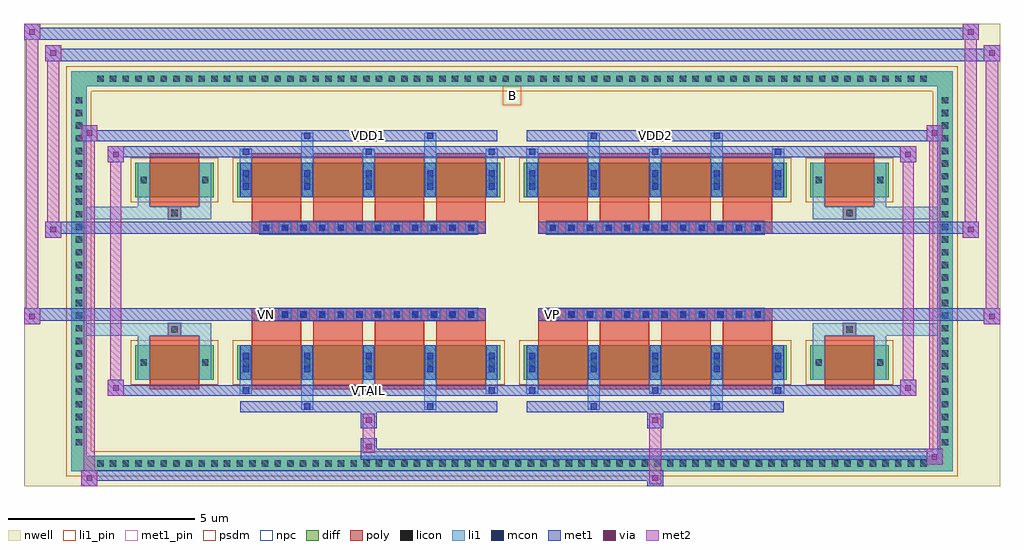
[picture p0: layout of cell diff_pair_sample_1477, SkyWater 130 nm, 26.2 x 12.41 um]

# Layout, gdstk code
import gdstk
lib = gdstk.Library(unit=1e-6, precision=5e-09)
def R(c, l, rs):  # rectangles x0, y0, x1, y1
    for r in rs: c.add(gdstk.rectangle(r[:2], r[2:], *l))
def A(c, l, x, y, w, h, nx, ny, dx, dy):  # array of equal rectangles
    R(c, l, [(x+i*dx, y+j*dy, x+i*dx+w, y+j*dy+h) for i in range(nx) for j in range(ny)])
def P(c, l, *ps):  # polygons
    for p in ps: c.add(gdstk.Polygon(p, *l))
nwell = (64, 20)
diff = (65, 20)
poly = (66, 20)
licon = (66, 44)
li1_pin = (67, 16)
li1 = (67, 20)
mcon = (67, 44)
met1_pin = (68, 16)
met1 = (68, 20)
via = (68, 44)
met2 = (69, 20)
psdm = (94, 20)
npc = (95, 20)

diff_pair_sample_1477 = lib.new_cell('diff_pair_sample_1477')
R(diff_pair_sample_1477, nwell, [(-13.1,-5.77,13.1,6.64), (-10.42,-3.96,-0.01,-0.8), (0.01,-3.96,10.42,-0.8), (-10.42,0.8,-0.01,3.96), (0.01,0.8,10.42,3.96)])
A(diff_pair_sample_1477, diff, -11.255, -5.37, 0.41, 0.41, 66, 2, 0.34, 10.33)
A(diff_pair_sample_1477, diff, -11.83, -4.795, 0.41, 0.41, 1, 28, 0, 0.34)
A(diff_pair_sample_1477, diff, 11.42, -4.795, 0.41, 0.41, 1, 28, 0, 0.34)
R(diff_pair_sample_1477, diff, [(-11.255,-5.37,11.255,-4.96), (-11.83,-4.795,-11.42,4.795), (11.42,-4.795,11.83,4.795), (-10.11,-2.915,-8.01,-1.985), (-7.37,-2.915,-0.32,-1.985), (0.32,-2.915,7.37,-1.985), (8.01,-2.915,10.11,-1.985), (-10.11,1.985,-8.01,2.915), (-7.37,1.985,-0.32,2.915), (0.32,1.985,7.37,2.915), (8.01,1.985,10.11,2.915), (-11.255,4.96,11.255,5.37)])
P(diff_pair_sample_1477, diff, [(11.83,5.37),(-11.83,5.37),(-11.83,-4.96),(-11.42,-4.96),(-11.42,4.96),(11.42,4.96),(11.42,-4.96),(-11.42,-4.96),(-11.83,-4.96),(-11.83,-5.37),(11.83,-5.37)])
A(diff_pair_sample_1477, poly, -6.98, -3.17, 1.32, 1.44, 4, 2, 1.65, 4.9)
A(diff_pair_sample_1477, poly, 0.71, -3.17, 1.32, 1.44, 4, 2, 1.65, 4.9)
A(diff_pair_sample_1477, poly, -6.98, -1.73, 1.32, 0.4, 4, 2, 1.65, 3.06)
A(diff_pair_sample_1477, poly, 0.71, -1.73, 1.32, 0.4, 4, 2, 1.65, 3.06)
A(diff_pair_sample_1477, poly, -6.76, -1.33, 0.33, 0.33, 12, 2, 0.5, 2.33)
A(diff_pair_sample_1477, poly, 0.93, -1.33, 0.33, 0.33, 12, 2, 0.5, 2.33)
R(diff_pair_sample_1477, poly, [(-9.72,-3.17,-8.4,-1.73), (8.4,-3.17,9.72,-1.73), (-9.225,-1.73,-8.895,-1.4), (-9.225,-1.73,-8.895,-1.4), (8.895,-1.73,9.225,-1.4), (8.895,-1.73,9.225,-1.4), (-6.98,-1.33,-0.71,-1), (0.71,-1.33,6.98,-1), (-6.98,1,-0.71,1.33), (0.71,1,6.98,1.33), (-9.225,1.4,-8.895,1.73), (-9.225,1.4,-8.895,1.73), (8.895,1.4,9.225,1.73), (8.895,1.4,9.225,1.73), (-9.72,1.73,-8.4,3.17), (8.4,1.73,9.72,3.17)])
A(diff_pair_sample_1477, licon, -11.135, -5.25, 0.17, 0.17, 66, 2, 0.34, 10.33)
A(diff_pair_sample_1477, licon, -11.71, -4.675, 0.17, 0.17, 1, 28, 0, 0.34)
A(diff_pair_sample_1477, licon, 11.54, -4.675, 0.17, 0.17, 1, 28, 0, 0.34)
A(diff_pair_sample_1477, licon, -7.23, -2.535, 0.17, 0.17, 5, 2, 1.65, 4.9)
A(diff_pair_sample_1477, licon, 0.46, -2.535, 0.17, 0.17, 5, 2, 1.65, 4.9)
A(diff_pair_sample_1477, licon, -6.68, -1.25, 0.17, 0.17, 12, 2, 0.5, 2.33)
A(diff_pair_sample_1477, licon, 1.01, -1.25, 0.17, 0.17, 12, 2, 0.5, 2.33)
R(diff_pair_sample_1477, licon, [(-9.97,-2.535,-9.8,-2.365), (-8.32,-2.535,-8.15,-2.365), (8.15,-2.535,8.32,-2.365), (9.8,-2.535,9.97,-2.365), (-9.145,-1.65,-8.975,-1.48), (8.975,-1.65,9.145,-1.48), (-9.145,1.48,-8.975,1.65), (8.975,1.48,9.145,1.65), (-9.97,2.365,-9.8,2.535), (-8.32,2.365,-8.15,2.535), (8.15,2.365,8.32,2.535), (9.8,2.365,9.97,2.535)])
R(diff_pair_sample_1477, li1_pin, [(-0.25,4.46,0.25,4.96)])
A(diff_pair_sample_1477, li1, -11.215, -5.33, 0.33, 0.33, 66, 2, 0.34, 10.33)
A(diff_pair_sample_1477, li1, -11.79, -4.755, 0.33, 0.33, 1, 28, 0, 0.34)
A(diff_pair_sample_1477, li1, 11.46, -4.755, 0.33, 0.33, 1, 28, 0, 0.34)
A(diff_pair_sample_1477, li1, -7.31, -3.29, 0.33, 0.375, 3, 2, 3.3, 6.205)
A(diff_pair_sample_1477, li1, -7.23, -3.29, 0.17, 0.17, 3, 2, 3.3, 6.41)
A(diff_pair_sample_1477, li1, 0.38, -3.29, 0.33, 0.375, 3, 2, 3.3, 6.205)
A(diff_pair_sample_1477, li1, 0.46, -3.29, 0.17, 0.17, 3, 2, 3.3, 6.41)
A(diff_pair_sample_1477, li1, -7.31, -2.915, 0.33, 0.93, 5, 2, 1.65, 4.9)
A(diff_pair_sample_1477, li1, 0.38, -2.915, 0.33, 0.93, 5, 2, 1.65, 4.9)
A(diff_pair_sample_1477, li1, -7.23, -2.715, 0.17, 0.17, 5, 2, 1.65, 0.36)
A(diff_pair_sample_1477, li1, -7.23, -2.715, 0.17, 0.53, 5, 2, 1.65, 4.9)
A(diff_pair_sample_1477, li1, 0.46, -2.715, 0.17, 0.17, 5, 2, 1.65, 0.36)
A(diff_pair_sample_1477, li1, 0.46, -2.715, 0.17, 0.53, 5, 2, 1.65, 4.9)
A(diff_pair_sample_1477, li1, -7.31, -2.615, 0.33, 0.33, 5, 2, 1.65, 4.9)
A(diff_pair_sample_1477, li1, 0.38, -2.615, 0.33, 0.33, 5, 2, 1.65, 4.9)
A(diff_pair_sample_1477, li1, -6.76, -1.33, 0.33, 0.33, 12, 2, 0.5, 2.33)
A(diff_pair_sample_1477, li1, 0.93, -1.33, 0.33, 0.33, 12, 2, 0.5, 2.33)
A(diff_pair_sample_1477, li1, -7.23, 2.185, 0.17, 0.17, 5, 2, 1.65, 0.36)
A(diff_pair_sample_1477, li1, 0.46, 2.185, 0.17, 0.17, 5, 2, 1.65, 0.36)
R(diff_pair_sample_1477, li1, [(-11.83,-5.37,-11.42,-4.96), (-11.83,-5.37,-11.42,-4.96), (-11.42,-5.37,11.42,-4.96), (11.42,-5.37,11.83,-4.96), (11.42,-5.37,11.83,-4.96), (-11.83,-4.96,-11.42,4.96), (11.42,-4.96,11.83,4.96), (-5.66,-3.72,-5.33,-2.915), (-5.58,-3.72,-5.41,-3.55), (-2.36,-3.72,-2.03,-2.915), (-2.28,-3.72,-2.11,-3.55), (2.03,-3.72,2.36,-2.915), (2.11,-3.72,2.28,-3.55), (5.33,-3.72,5.66,-2.915), (5.41,-3.72,5.58,-3.55), (-10.05,-2.915,-9.72,-1.985), (-8.4,-2.915,-8.07,-1.985), (8.07,-2.915,8.4,-1.985), (9.72,-2.915,10.05,-1.985), (-10.05,-2.615,-9.72,-2.285), (-8.4,-2.615,-8.07,-2.285), (8.07,-2.615,8.4,-2.285), (9.72,-2.615,10.05,-2.285), (-10.05,-1.985,-9.72,-1.4), (-8.4,-1.985,-8.07,-1.4), (8.07,-1.985,8.4,-1.4), (9.72,-1.985,10.05,-1.4), (-11.83,-1.73,-9.225,-1.4), (-10.05,-1.73,-9.225,-1.4), (-9.225,-1.73,-8.895,-1.4), (-8.895,-1.73,-8.07,-1.4), (8.07,-1.73,8.895,-1.4), (8.895,-1.73,9.225,-1.4), (8.895,-1.73,11.83,-1.4), (9.225,-1.73,10.05,-1.4), (-11.83,1.4,-9.225,1.73), (-10.05,1.4,-9.225,1.73), (-10.05,1.4,-9.72,1.985), (-9.225,1.4,-8.895,1.73), (-8.895,1.4,-8.07,1.73), (-8.4,1.4,-8.07,1.985), (8.07,1.4,8.895,1.73), (8.07,1.4,8.4,1.985), (8.895,1.4,9.225,1.73), (8.895,1.4,11.83,1.73), (9.225,1.4,10.05,1.73), (9.72,1.4,10.05,1.985), (-10.05,1.985,-9.72,2.915), (-8.4,1.985,-8.07,2.915), (8.07,1.985,8.4,2.915), (9.72,1.985,10.05,2.915), (-10.05,2.285,-9.72,2.615), (-8.4,2.285,-8.07,2.615), (8.07,2.285,8.4,2.615), (9.72,2.285,10.05,2.615), (-5.66,2.915,-5.33,3.72), (-2.36,2.915,-2.03,3.72), (2.03,2.915,2.36,3.72), (5.33,2.915,5.66,3.72), (-5.58,3.55,-5.41,3.72), (-2.28,3.55,-2.11,3.72), (2.11,3.55,2.28,3.72), (5.41,3.55,5.58,3.72), (-11.83,4.96,-11.42,5.37), (-11.83,4.96,-11.42,5.37), (-11.42,4.96,11.42,5.37), (11.42,4.96,11.83,5.37), (11.42,4.96,11.83,5.37)])
A(diff_pair_sample_1477, mcon, -7.23, -3.29, 0.17, 0.17, 3, 2, 3.3, 6.41)
A(diff_pair_sample_1477, mcon, 0.46, -3.29, 0.17, 0.17, 3, 2, 3.3, 6.41)
A(diff_pair_sample_1477, mcon, -7.23, -2.715, 0.17, 0.17, 5, 2, 1.65, 0.36)
A(diff_pair_sample_1477, mcon, 0.46, -2.715, 0.17, 0.17, 5, 2, 1.65, 0.36)
A(diff_pair_sample_1477, mcon, -6.68, -1.25, 0.17, 0.17, 12, 2, 0.5, 2.33)
A(diff_pair_sample_1477, mcon, 1.01, -1.25, 0.17, 0.17, 12, 2, 0.5, 2.33)
A(diff_pair_sample_1477, mcon, -7.23, 2.185, 0.17, 0.17, 5, 2, 1.65, 0.36)
A(diff_pair_sample_1477, mcon, 0.46, 2.185, 0.17, 0.17, 5, 2, 1.65, 0.36)
R(diff_pair_sample_1477, mcon, [(-5.58,-3.72,-5.41,-3.55), (-2.28,-3.72,-2.11,-3.55), (2.11,-3.72,2.28,-3.55), (5.41,-3.72,5.58,-3.55), (-5.58,3.55,-5.41,3.72), (-2.28,3.55,-2.11,3.72), (2.11,3.55,2.28,3.72), (5.41,3.55,5.58,3.72)])
R(diff_pair_sample_1477, met1_pin, [(-3.98,-3.33,-3.71,-3.06), (-6.73,-1.29,-6.46,-1.02), (0.96,-1.29,1.23,-1.02), (-3.98,3.51,-3.71,3.78), (3.71,3.51,3.98,3.78)])
A(diff_pair_sample_1477, met1, -7.29, -3.35, 0.29, 0.29, 3, 2, 3.3, 6.41)
A(diff_pair_sample_1477, met1, 0.4, -3.35, 0.29, 0.29, 3, 2, 3.3, 6.41)
A(diff_pair_sample_1477, met1, -7.29, -2.915, 0.29, 0.93, 5, 2, 1.65, 4.9)
A(diff_pair_sample_1477, met1, 0.4, -2.915, 0.29, 0.93, 5, 2, 1.65, 4.9)
A(diff_pair_sample_1477, met1, -7.29, -2.775, 0.29, 0.29, 5, 2, 1.65, 0.36)
A(diff_pair_sample_1477, met1, 0.4, -2.775, 0.29, 0.29, 5, 2, 1.65, 0.36)
A(diff_pair_sample_1477, met1, -6.74, -1.31, 0.29, 0.29, 12, 2, 0.5, 2.33)
A(diff_pair_sample_1477, met1, 0.95, -1.31, 0.29, 0.29, 12, 2, 0.5, 2.33)
A(diff_pair_sample_1477, met1, -7.29, 2.125, 0.29, 0.29, 5, 2, 1.65, 0.36)
A(diff_pair_sample_1477, met1, 0.4, 2.125, 0.29, 0.29, 5, 2, 1.65, 0.36)
R(diff_pair_sample_1477, met1, [(-11.56,-5.77,-11.13,-5.34), (3.63,-5.77,4.06,-5.34), (-11.56,-5.63,4.06,-5.34), (11.13,-5.2,11.56,-4.77), (-4.06,-5.06,11.56,-4.77), (-4.06,-4.92,-3.63,-4.49), (-4.06,-4.21,-3.63,-3.78), (3.63,-4.21,4.06,-3.78), (-7.29,-3.78,-0.4,-3.49), (-5.64,-3.78,-5.35,-3.49), (-2.34,-3.78,-2.05,-3.49), (0.4,-3.78,7.29,-3.49), (2.05,-3.78,2.34,-3.49), (5.35,-3.78,5.64,-3.49), (-10.85,-3.35,-10.42,-2.92), (-10.85,-3.35,-7.29,-3.06), (-7.29,-3.35,-0.4,-3.06), (-0.4,-3.35,0.4,-3.06), (0.4,-3.35,7.29,-3.06), (7.29,-3.35,10.85,-3.06), (10.42,-3.35,10.85,-2.92), (-13.1,-1.43,-12.67,-1), (12.67,-1.43,13.1,-1), (-13.1,-1.33,-0.71,-1), (-6.98,-1.33,-0.71,-1), (0.71,-1.33,6.98,-1), (0.71,-1.33,13.1,-1), (-12.53,0.9,-12.1,1.33), (12.1,0.9,12.53,1.33), (-12.53,1,-6.98,1.33), (-6.98,1,-0.71,1.33), (0.71,1,6.98,1.33), (6.98,1,12.53,1.33), (-10.85,2.92,-10.42,3.35), (10.42,2.92,10.85,3.35), (-10.85,3.06,-7.29,3.35), (-7.29,3.06,-0.4,3.35), (-0.4,3.06,0.4,3.35), (0.4,3.06,7.29,3.35), (7.29,3.06,10.85,3.35), (-11.56,3.49,-11.13,3.92), (-11.56,3.49,-7.29,3.78), (-7.29,3.49,-0.4,3.78), (-5.64,3.49,-5.35,3.78), (-2.34,3.49,-2.05,3.78), (0.4,3.49,7.29,3.78), (2.05,3.49,2.34,3.78), (5.35,3.49,5.64,3.78), (7.29,3.49,11.56,3.78), (11.13,3.49,11.56,3.92), (-12.53,5.64,-12.1,6.07), (-12.53,5.64,-10.42,5.97), (-10.42,5.64,10.42,5.97), (10.42,5.64,13.1,5.97), (12.67,5.64,13.1,6.07), (-13.1,6.21,-12.67,6.64), (-13.1,6.21,-10.42,6.54), (-10.42,6.21,10.42,6.54), (10.42,6.21,12.53,6.54), (12.1,6.21,12.53,6.64)])
R(diff_pair_sample_1477, via, [(-11.42,-5.63,-11.27,-5.48), (3.77,-5.63,3.92,-5.48), (11.27,-5.06,11.42,-4.91), (-3.92,-4.78,-3.77,-4.63), (-3.92,-4.07,-3.77,-3.92), (3.77,-4.07,3.92,-3.92), (-10.71,-3.21,-10.56,-3.06), (10.56,-3.21,10.71,-3.06), (-12.96,-1.29,-12.81,-1.14), (12.81,-1.29,12.96,-1.14), (-12.39,1.04,-12.24,1.19), (12.24,1.04,12.39,1.19), (-10.71,3.06,-10.56,3.21), (10.56,3.06,10.71,3.21), (-11.42,3.63,-11.27,3.78), (11.27,3.63,11.42,3.78), (-12.39,5.78,-12.24,5.93), (12.81,5.78,12.96,5.93), (-12.96,6.35,-12.81,6.5), (12.24,6.35,12.39,6.5)])
R(diff_pair_sample_1477, met2, [(-11.56,-5.77,-11.13,-5.34), (-11.49,-5.77,-11.2,3.92), (-11.2,-5.77,-11.13,-5.34), (-11.51,-5.72,-11.18,-5.39), (3.68,-5.72,4.01,-5.39), (3.68,-5.39,4.01,-4.16), (11.13,-5.2,11.56,-4.77), (11.2,-5.2,11.49,3.92), (11.49,-5.2,11.56,-4.77), (11.18,-5.15,11.51,-4.82), (-4.01,-4.87,-3.68,-4.54), (-4.01,-4.54,-3.68,-4.16), (-4.01,-4.16,-3.68,-3.83), (3.68,-4.16,4.01,-3.83), (-10.85,-3.35,-10.42,-2.92), (-10.78,-3.35,-10.49,3.35), (-10.49,-3.35,-10.42,-2.92), (10.42,-3.35,10.85,-2.92), (10.49,-3.35,10.78,3.35), (10.78,-3.35,10.85,-2.92), (-10.8,-3.3,-10.47,-2.97), (10.47,-3.3,10.8,-2.97), (-13.1,-1.43,-12.67,-1), (-13.05,-1.43,-12.72,6.64), (-12.72,-1.43,-12.67,-1), (12.67,-1.43,13.1,-1), (12.72,-1.43,13.05,6.07), (13.05,-1.43,13.1,-1), (-13.05,-1.38,-12.72,-1.05), (12.72,-1.38,13.05,-1.05), (-12.53,0.9,-12.1,1.33), (-12.48,0.9,-12.15,6.07), (-12.15,0.9,-12.1,1.33), (12.1,0.9,12.53,1.33), (12.15,0.9,12.48,6.64), (12.48,0.9,12.53,1.33), (-12.48,0.95,-12.15,1.28), (12.15,0.95,12.48,1.28), (-10.85,2.92,-10.42,3.35), (-10.49,2.92,-10.42,3.35), (10.42,2.92,10.85,3.35), (10.78,2.92,10.85,3.35), (-10.8,2.97,-10.47,3.3), (10.47,2.97,10.8,3.3), (-11.56,3.49,-11.13,3.92), (-11.2,3.49,-11.13,3.92), (11.13,3.49,11.56,3.92), (11.49,3.49,11.56,3.92), (-11.51,3.54,-11.18,3.87), (11.18,3.54,11.51,3.87), (-12.53,5.64,-12.1,6.07), (-12.15,5.64,-12.1,6.07), (12.67,5.64,13.1,6.07), (13.05,5.64,13.1,6.07), (-12.48,5.69,-12.15,6.02), (12.72,5.69,13.05,6.02), (-13.1,6.21,-12.67,6.64), (-12.72,6.21,-12.67,6.64), (12.1,6.21,12.53,6.64), (12.48,6.21,12.53,6.64), (-13.05,6.26,-12.72,6.59), (12.15,6.26,12.48,6.59)])
R(diff_pair_sample_1477, psdm, [(-10.24,-3.045,-7.88,-1.855), (-7.5,-3.045,-0.19,-1.855), (0.19,-3.045,7.5,-1.855), (7.88,-3.045,10.24,-1.855), (-10.24,1.855,-7.88,3.045), (-7.5,1.855,-0.19,3.045), (0.19,1.855,7.5,3.045), (7.88,1.855,10.24,3.045)])
P(diff_pair_sample_1477, psdm, [(11.96,5.5),(-11.96,5.5),(-11.96,-4.83),(-11.29,-4.83),(-11.29,4.83),(11.29,4.83),(11.29,-4.83),(-11.29,-4.83),(-11.96,-4.83),(-11.96,-5.5),(11.96,-5.5)])
A(diff_pair_sample_1477, npc, -6.78, -1.35, 0.37, 0.37, 12, 2, 0.5, 2.33)
A(diff_pair_sample_1477, npc, 0.91, -1.35, 0.37, 0.37, 12, 2, 0.5, 2.33)
R(diff_pair_sample_1477, npc, [(-9.245,-1.75,-8.875,-1.38), (8.875,-1.75,9.245,-1.38), (-6.78,-1.35,-5.91,-0.98), (-6.78,-1.35,-5.91,-0.98), (-6.28,-1.35,-5.41,-0.98), (-6.28,-1.35,-5.41,-0.98), (-5.78,-1.35,-4.91,-0.98), (-5.78,-1.35,-4.91,-0.98), (-5.28,-1.35,-4.41,-0.98), (-5.28,-1.35,-4.41,-0.98), (-4.78,-1.35,-3.91,-0.98), (-4.78,-1.35,-3.91,-0.98), (-4.28,-1.35,-3.41,-0.98), (-4.28,-1.35,-3.41,-0.98), (-3.78,-1.35,-2.91,-0.98), (-3.78,-1.35,-2.91,-0.98), (-3.28,-1.35,-2.41,-0.98), (-3.28,-1.35,-2.41,-0.98), (-2.78,-1.35,-1.91,-0.98), (-2.78,-1.35,-1.91,-0.98), (-2.28,-1.35,-1.41,-0.98), (-2.28,-1.35,-1.41,-0.98), (-1.78,-1.35,-0.91,-0.98), (-1.78,-1.35,-0.91,-0.98), (0.91,-1.35,1.78,-0.98), (0.91,-1.35,1.78,-0.98), (1.41,-1.35,2.28,-0.98), (1.41,-1.35,2.28,-0.98), (1.91,-1.35,2.78,-0.98), (1.91,-1.35,2.78,-0.98), (2.41,-1.35,3.28,-0.98), (2.41,-1.35,3.28,-0.98), (2.91,-1.35,3.78,-0.98), (2.91,-1.35,3.78,-0.98), (3.41,-1.35,4.28,-0.98), (3.41,-1.35,4.28,-0.98), (3.91,-1.35,4.78,-0.98), (3.91,-1.35,4.78,-0.98), (4.41,-1.35,5.28,-0.98), (4.41,-1.35,5.28,-0.98), (4.91,-1.35,5.78,-0.98), (4.91,-1.35,5.78,-0.98), (5.41,-1.35,6.28,-0.98), (5.41,-1.35,6.28,-0.98), (5.91,-1.35,6.78,-0.98), (5.91,-1.35,6.78,-0.98), (-6.78,0.98,-5.91,1.35), (-6.78,0.98,-5.91,1.35), (-6.28,0.98,-5.41,1.35), (-6.28,0.98,-5.41,1.35), (-5.78,0.98,-4.91,1.35), (-5.78,0.98,-4.91,1.35), (-5.28,0.98,-4.41,1.35), (-5.28,0.98,-4.41,1.35), (-4.78,0.98,-3.91,1.35), (-4.78,0.98,-3.91,1.35), (-4.28,0.98,-3.41,1.35), (-4.28,0.98,-3.41,1.35), (-3.78,0.98,-2.91,1.35), (-3.78,0.98,-2.91,1.35), (-3.28,0.98,-2.41,1.35), (-3.28,0.98,-2.41,1.35), (-2.78,0.98,-1.91,1.35), (-2.78,0.98,-1.91,1.35), (-2.28,0.98,-1.41,1.35), (-2.28,0.98,-1.41,1.35), (-1.78,0.98,-0.91,1.35), (-1.78,0.98,-0.91,1.35), (0.91,0.98,1.78,1.35), (0.91,0.98,1.78,1.35), (1.41,0.98,2.28,1.35), (1.41,0.98,2.28,1.35), (1.91,0.98,2.78,1.35), (1.91,0.98,2.78,1.35), (2.41,0.98,3.28,1.35), (2.41,0.98,3.28,1.35), (2.91,0.98,3.78,1.35), (2.91,0.98,3.78,1.35), (3.41,0.98,4.28,1.35), (3.41,0.98,4.28,1.35), (3.91,0.98,4.78,1.35), (3.91,0.98,4.78,1.35), (4.41,0.98,5.28,1.35), (4.41,0.98,5.28,1.35), (4.91,0.98,5.78,1.35), (4.91,0.98,5.78,1.35), (5.41,0.98,6.28,1.35), (5.41,0.98,6.28,1.35), (5.91,0.98,6.78,1.35), (5.91,0.98,6.78,1.35), (-9.245,1.38,-8.875,1.75), (8.875,1.38,9.245,1.75)])
diff_pair_sample_1477.add(gdstk.Label('VTAIL', (-3.845,-3.195), layer=68, texttype=5))
diff_pair_sample_1477.add(gdstk.Label('VN', (-6.595,-1.155), layer=68, texttype=5))
diff_pair_sample_1477.add(gdstk.Label('VP', (1.095,-1.155), layer=68, texttype=5))
diff_pair_sample_1477.add(gdstk.Label('B', (0,4.71), layer=67, texttype=5))
diff_pair_sample_1477.add(gdstk.Label('VDD2', (3.845,3.645), layer=68, texttype=5))
diff_pair_sample_1477.add(gdstk.Label('VDD1', (-3.845,3.645), layer=68, texttype=5))

lib.write_gds('diff_pair_sample_1477.gds')
